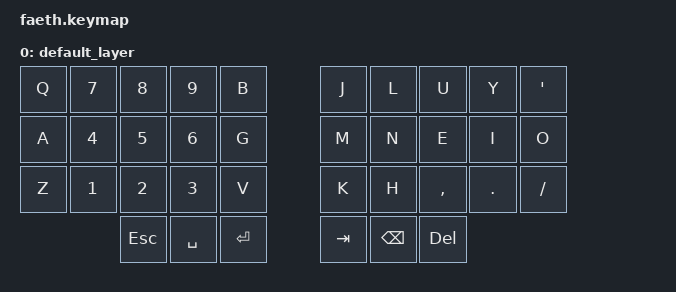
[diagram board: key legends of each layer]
#include <behaviors.dtsi>
#include <dt-bindings/zmk/keys.h>
#include <dt-bindings/zmk/bt.h>

/ {
        keymap {
                compatible = "zmk,keymap";

                default_layer {
// -----------------------------------------------------------------------------------------
// |  Q  |  W  |  F  |  P  |  B  |   |  J  |  L   |  U  |  Y  |  '  |
// |  A  |  R  |  S  |  T  |  G  |   |  M  |  N   |  E  |  I  |  O  |
// |  Z  |  X  |  C  |  D  |  V  |   |  K  |  H   |  ,  |  .  |  /  |
//             | ESC | SPC | TAB |   | ENT | BACK | DEL |
                        bindings = <
   &kp Q &kp N7 &kp N8 &kp N9 &kp B   &kp J &kp L  &kp U     &kp Y   &kp APOS
   &kp A &kp N4 &kp N5 &kp N6 &kp G   &kp M &kp N  &kp E     &kp I   &kp O
   &kp Z &kp N1 &kp N2 &kp N3 &kp V   &kp K &kp H  &kp COMMA &kp DOT &kp FSLH
       &kp ESC &kp SPACE &kp RET   &kp TAB &kp BSPC &kp DEL
                        >;
                };
        };
};
